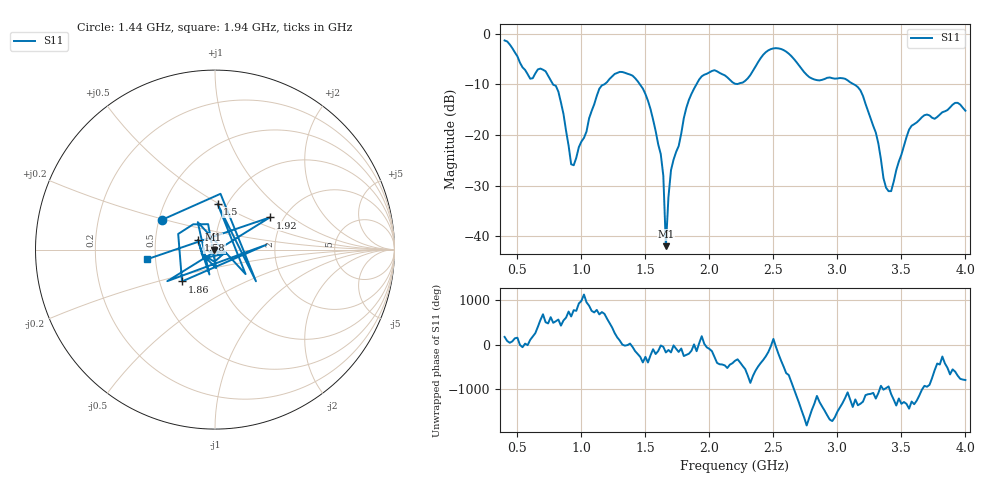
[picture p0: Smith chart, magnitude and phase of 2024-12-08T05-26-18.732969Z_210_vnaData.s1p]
!Created with skrf (http://scikit-rf.org).
# Hz S RI R 50.0
!freq ReS11 ImS11
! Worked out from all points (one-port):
!   181 points, 400 MHz to 4 GHz, reference 50 ohm
!   lowest |S11| = -42.0 dB at 1.66 GHz (marker M1), VSWR 1.02, Z = 49.2 - j0.0653 ohm
!   |S11| at or under -10 dB: 778.8 MHz to 1.177 GHz (398.1 MHz wide, 40.7 % of centre); 1.457 GHz to 1.899 GHz (441.5 MHz wide, 26.3 % of centre); 3.13 GHz to end of sweep
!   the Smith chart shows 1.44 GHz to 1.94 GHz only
!   S11 on the Smith chart (normalised r, x): 1.44 GHz: 0.52, +0.19; 1.5 GHz: 0.90, +0.49; 1.58 GHz: 0.82, +0.09; 1.86 GHz: 0.65, -0.25; 1.92 GHz: 1.70, +0.70; 1.94 GHz: 0.45, -0.06
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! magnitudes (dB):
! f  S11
! 400 MHz  -1.3
! 600 MHz  -8.9
! 720 MHz  -7.4
! 860 MHz  -15.8
! 920 MHz  -25.8
! 940 MHz  -26.0
! 1.14 GHz  -10.8
! 1.3 GHz  -7.5
! 1.44 GHz  -9.4
! 1.5 GHz  -11.9
! 1.58 GHz  -19.2
! 1.64 GHz  -28.1
! 1.66 GHz  -42.0
! 1.7 GHz  -26.9
! 1.76 GHz  -22.2
! 1.86 GHz  -11.9
! 1.92 GHz  -9.0
! 1.94 GHz  -8.4
! 2.2 GHz  -9.9
! 2.48 GHz  -3.0
! 2.66 GHz  -5.0
! 2.8 GHz  -8.8
! 3.1 GHz  -9.6
! 3.2 GHz  -12.3
! 3.4 GHz  -31.1
! 3.56 GHz  -18.9
! 3.92 GHz  -13.6
! 4 GHz  -15.2
